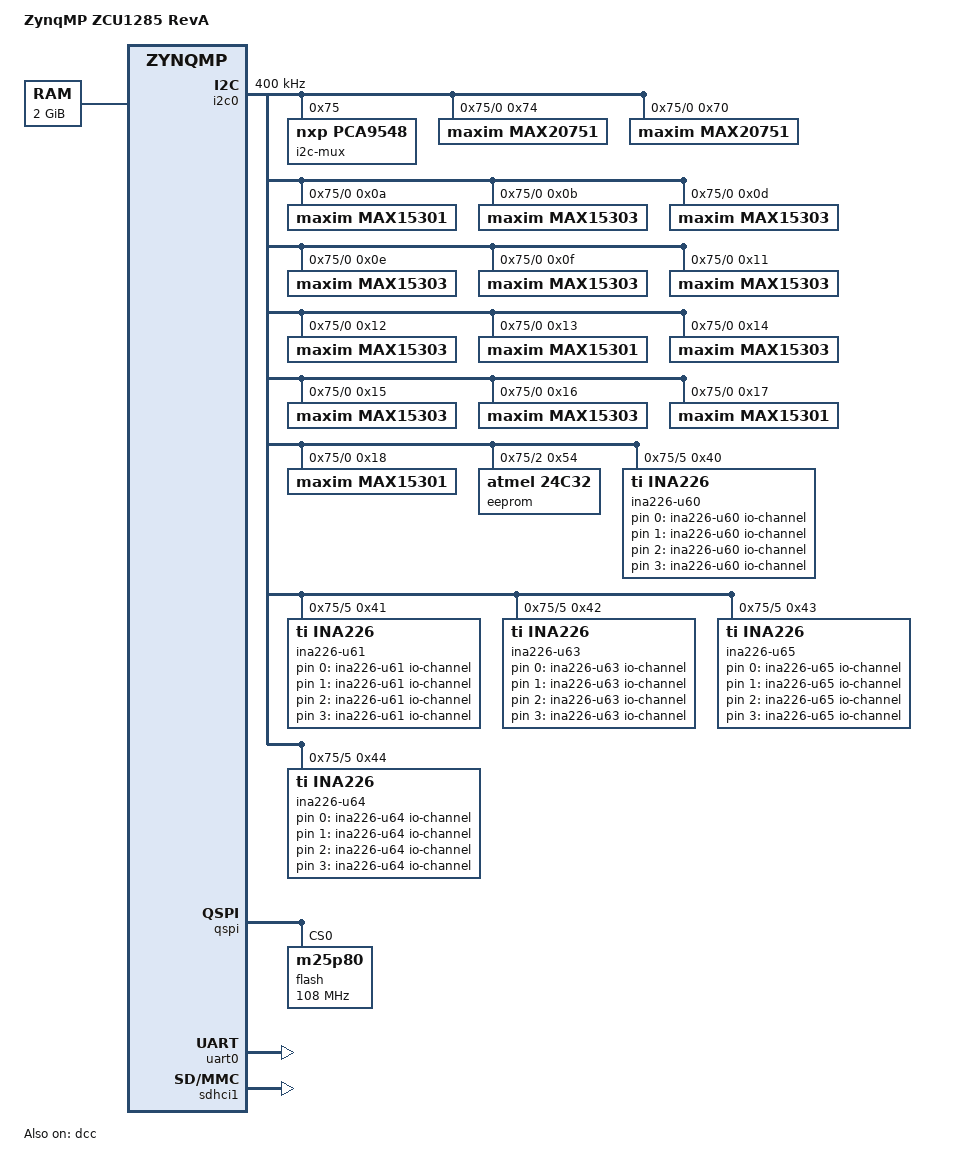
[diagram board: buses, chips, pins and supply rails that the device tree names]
// SPDX-License-Identifier: GPL-2.0
/*
 * dts file for Xilinx ZynqMP ZCU1285 RevA
 *
 * (C) Copyright 2018 - 2020, Xilinx, Inc.
 *
 * Michal Simek <michal.simek@xilinx.com>
 * Siva Durga Prasad Paladugu <sivadur@xilinx.com>
 */

/dts-v1/;

#include "zynqmp.dtsi"
#include "zynqmp-clk-ccf.dtsi"

/ {
	model = "ZynqMP ZCU1285 RevA";
	compatible = "xlnx,zynqmp-zcu1285-revA", "xlnx,zynqmp-zcu1285",
		     "xlnx,zynqmp";

	aliases {
		serial0 = &uart0;
		serial1 = &dcc;
		spi0 = &qspi;
		mmc0 = &sdhci1;
		i2c = &i2c0; /* EMIO */
	};

	chosen {
		bootargs = "earlycon";
		stdout-path = "serial0:115200n8";
	};

	memory@0 {
		device_type = "memory";
		reg = <0x0 0x0 0x0 0x80000000>;
	};

	ina226-u60 {
		compatible = "iio-hwmon";
		io-channels = <&u60 0>, <&u60 1>, <&u60 2>, <&u60 3>;
	};
	ina226-u61 {
		compatible = "iio-hwmon";
		io-channels = <&u61 0>, <&u61 1>, <&u61 2>, <&u61 3>;
	};
	ina226-u63 {
		compatible = "iio-hwmon";
		io-channels = <&u63 0>, <&u63 1>, <&u63 2>, <&u63 3>;
	};
	ina226-u65 {
		compatible = "iio-hwmon";
		io-channels = <&u65 0>, <&u65 1>, <&u65 2>, <&u65 3>;
	};
	ina226-u64 {
		compatible = "iio-hwmon";
		io-channels = <&u64 0>, <&u64 1>, <&u64 2>, <&u64 3>;
	};
};

&dcc {
	status = "okay";
};

&i2c0 {
	status = "okay";
	clock-frequency = <400000>;

	i2c-mux@75 {
		compatible = "nxp,pca9548"; /* u22 */
		#address-cells = <1>;
		#size-cells = <0>;
		reg = <0x75>;

		i2c@0 {
			#address-cells = <1>;
			#size-cells = <0>;
			reg = <0>;
			/* PMBUS */
			max20751@74 { /* u23 */
				compatible = "maxim,max20751";
				reg = <0x74>;
			};
			max20751@70 { /* u89 */
				compatible = "maxim,max20751";
				reg = <0x70>;
			};
			max15301@a { /* u28 */
				compatible = "maxim,max15301";
				reg = <0xa>;
			};
			max15303@b { /* u48 */
				compatible = "maxim,max15303";
				reg = <0xb>;
			};
			max15303@d { /* u27 */
				compatible = "maxim,max15303";
				reg = <0xd>;
			};
			max15303@e { /* u11 */
				compatible = "maxim,max15303";
				reg = <0xe>;
			};
			max15303@f { /* u96 */
				compatible = "maxim,max15303";
				reg = <0xf>;
			};
			max15303@11 { /* u47 */
				compatible = "maxim,max15303";
				reg = <0x11>;
			};
			max15303@12 { /* u24 */
				compatible = "maxim,max15303";
				reg = <0x12>;
			};
			max15301@13 { /* u29 */
				compatible = "maxim,max15301";
				reg = <0x13>;
			};
			max15303@14 { /* u51 */
				compatible = "maxim,max15303";
				reg = <0x14>;
			};
			max15303@15 { /* u30 */
				compatible = "maxim,max15303";
				reg = <0x15>;
			};
			max15303@16 { /* u102 */
				compatible = "maxim,max15303";
				reg = <0x16>;
			};
			max15301@17 { /* u50 */
				compatible = "maxim,max15301";
				reg = <0x17>;
			};
			max15301@18 { /* u31 */
				compatible = "maxim,max15301";
				reg = <0x18>;
			};
		};
		i2c@1 {
			#address-cells = <1>;
			#size-cells = <0>;
			reg = <1>;
			/* CM_I2C */
		};
		i2c@2 {
			#address-cells = <1>;
			#size-cells = <0>;
			reg = <2>;
			/* SYS_EEPROM */
			eeprom: eeprom@54 { /* u101 */
				compatible = "atmel,24c32"; /* 24LC32A */
				reg = <0x54>;
			};
		};
		i2c@3 {
			#address-cells = <1>;
			#size-cells = <0>;
			reg = <3>;
			/* FMC1 */
		};
		i2c@4 {
			#address-cells = <1>;
			#size-cells = <0>;
			reg = <4>;
			/* FMC2 */
		};
		i2c@5 {
			#address-cells = <1>;
			#size-cells = <0>;
			reg = <5>;
			/* ANALOG_PMBUS */
			u60: ina226@40 { /* u60 */
				compatible = "ti,ina226";
				#io-channel-cells = <1>;
				label = "ina226-u60";
				reg = <0x40>;
				shunt-resistor = <1000>;
			};
			u61: ina226@41 { /* u61 */
				compatible = "ti,ina226";
				#io-channel-cells = <1>;
				label = "ina226-u61";
				reg = <0x41>;
				shunt-resistor = <1000>;
			};
			u63: ina226@42 { /* u63 */
				compatible = "ti,ina226";
				#io-channel-cells = <1>;
				label = "ina226-u63";
				reg = <0x42>;
				shunt-resistor = <1000>;
			};
			u65: ina226@43 { /* u65 */
				compatible = "ti,ina226";
				#io-channel-cells = <1>;
				label = "ina226-u65";
				reg = <0x43>;
				shunt-resistor = <1000>;
			};
			u64: ina226@44 { /* u64 */
				compatible = "ti,ina226";
				#io-channel-cells = <1>;
				label = "ina226-u64";
				reg = <0x44>;
				shunt-resistor = <1000>;
			};
		};
		i2c@6 {
			#address-cells = <1>;
			#size-cells = <0>;
			reg = <6>;
			/* ANALOG_CM_I2C */
		};
		i2c@7 {
			#address-cells = <1>;
			#size-cells = <0>;
			reg = <7>;
			/* FMC3 */
		};
	};
};

&qspi {
	status = "okay";
	flash@0 {
		compatible = "m25p80", "jedec,spi-nor"; /* 32MB */
		#address-cells = <1>;
		#size-cells = <1>;
		reg = <0x0>;
		spi-tx-bus-width = <1>;
		spi-rx-bus-width = <1>;
		spi-max-frequency = <108000000>; /* Based on DC1 spec */
	};
};

&uart0 {
	status = "okay";
};

&sdhci1 {
	status = "okay";
	/*
	 * This property should be removed for supporting UHS mode
	 */
	no-1-8-v;
	xlnx,mio-bank = <1>;
};
